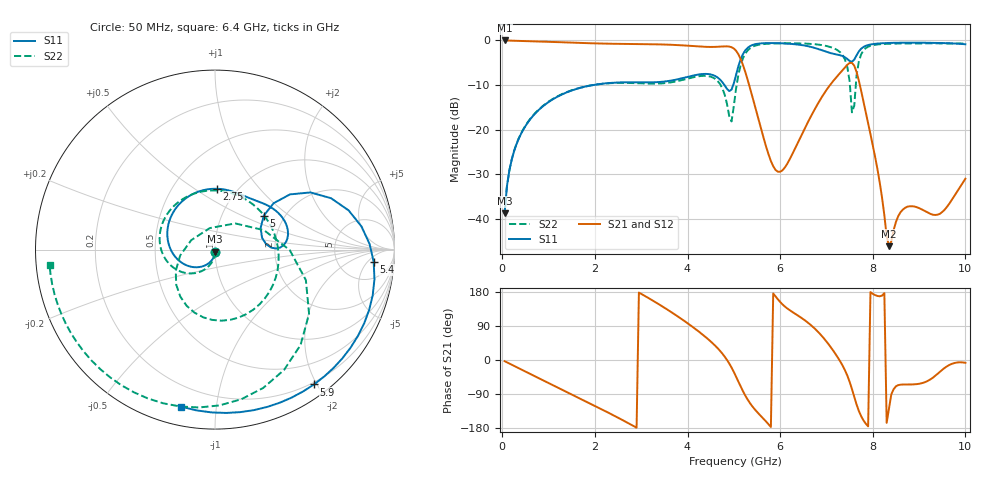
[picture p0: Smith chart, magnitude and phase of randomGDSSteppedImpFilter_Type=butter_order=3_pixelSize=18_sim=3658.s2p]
! freq	dB(S11)	phase(S11)	dB(S12)	phase(S12)
!  dB(S21)	phase(S21)	dB(S22)	phase(S22)
!S-par simulation data
#  GHz  S  DB  R 50
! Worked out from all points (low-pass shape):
!   200 points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, 50 MHz to 10 GHz, reference 50 ohm
!   highest |S21| = -0.02 dB at 50 MHz (marker M1); lowest = -46.1 dB at 8.35 GHz (marker M2)
!   |S21| within 3 dB of the highest: start of sweep to 5.092 GHz
!   lowest |S11| = -38.7 dB at 50 MHz (marker M3), VSWR 1.02, Z = 50.1 - j1.16 ohm
!   |S11| at or under -10 dB: start of sweep to 1.963 GHz; 4.796 GHz to 4.986 GHz (190.3 MHz wide, 3.89 % of centre)
!   |S22| runs from -38.6 to -0.6 dB; largest |S21 - S12| = 0
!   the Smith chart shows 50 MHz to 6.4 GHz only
!   S11 on the Smith chart (normalised r, x): 50 MHz: 1.00, -0.02; 2.75 GHz: 0.81, +0.62; 5 GHz: 1.57, +0.67; 5.4 GHz: 12, -8; 5.9 GHz: 0.17, -1.96; 6.4 GHz: 0.09, -0.80
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0.05  -38.72 -85.7  -0.02 -3.1  -0.02 -3.1  -38.64 -85.5
0.5  -19.20 -124.2  -0.13 -30.5  -0.13 -30.5  -19.10 -113.9
1.75  -10.46 148.2  -0.60 -105.9  -0.60 -105.9  -10.43 179.5
2.75  -9.39 88.0  -0.81 -168.6  -0.81 -168.6  -9.54 114.0
3.4  -9.32 59.5  -0.90 145.7  -0.90 145.7  -9.66 50.6
4.3  -7.56 22.8  -1.40 69.6  -1.40 69.6  -7.97 -64.1
4.75  -9.34 1.1  -1.37 17.2  -1.37 17.2  -10.70 -137.8
5  -9.60 34.8  -1.83 -31.7  -1.83 -31.7  -14.69 52.3
5.05  -7.61 38.4  -2.35 -44.4  -2.35 -44.4  -10.64 21.6
5.2  -3.01 23.9  -5.60 -83.1  -5.60 -83.1  -3.95 -34.3
5.4  -1.04 -4.4  -12.61 -122.4  -12.61 -122.4  -1.45 -80.1
5.9  -0.61 -53.7  -29.02 167.9  -29.02 167.9  -0.68 -138.1
6.4  -0.96 -102.3  -22.52 116.0  -22.52 116.0  -0.67 -174.8
6.7  -1.56 -144.2  -16.33 88.2  -16.33 88.2  -0.82 165.0
6.95  -2.40 164.4  -11.88 56.3  -11.88 56.3  -1.15 147.1
7.15  -3.01 112.0  -9.05 24.0  -9.05 24.0  -1.73 130.4
7.4  -3.78 50.2  -6.03 -27.2  -6.03 -27.2  -4.30 94.9
7.6  -4.31 32.2  -5.67 -97.3  -5.67 -97.3  -14.66 -100.7
7.8  -1.46 7.0  -13.73 -159.5  -13.73 -159.5  -2.23 171.1
8.35  -0.58 -44.8  -46.11 -128.9  -46.11 -128.9  -0.75 116.5
8.65  -0.52 -62.1  -37.92 -64.7  -37.92 -64.7  -0.69 99.2
10  -0.87 -118.4  -31.00 -7.5  -31.00 -7.5  -0.70 33.0
